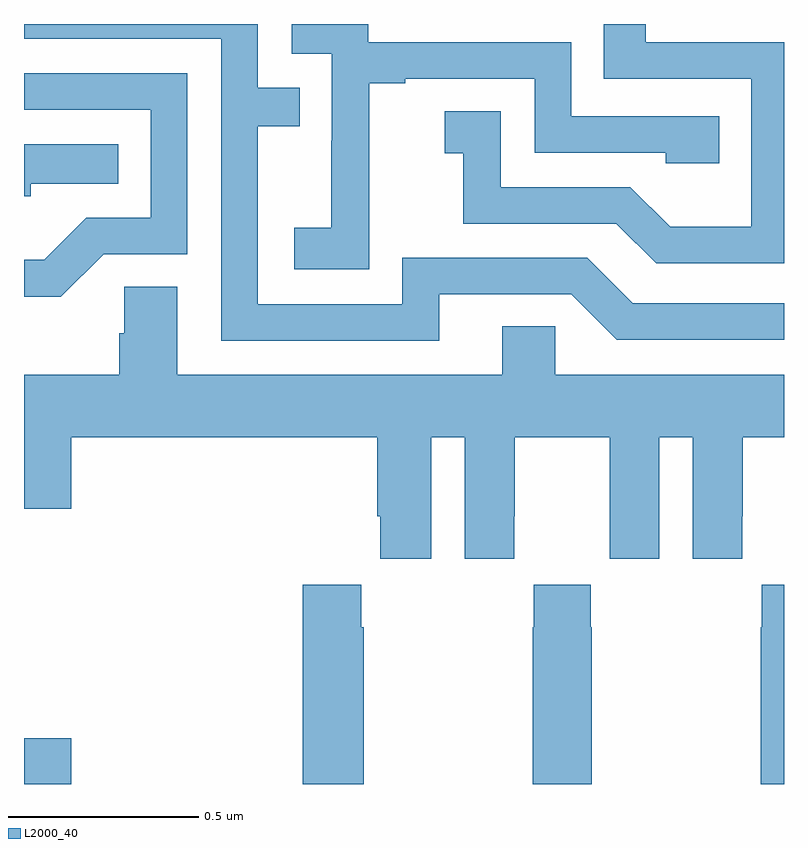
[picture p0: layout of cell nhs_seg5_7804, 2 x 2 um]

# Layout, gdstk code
import gdstk
lib = gdstk.Library(unit=1e-6, precision=1e-09)
def R(c, l, rs):  # rectangles x0, y0, x1, y1
    for r in rs: c.add(gdstk.rectangle(r[:2], r[2:], *l))
def P(c, l, *ps):  # polygons
    for p in ps: c.add(gdstk.Polygon(p, *l))
L2000_40 = (2000, 40)

nhs_seg5_7804 = lib.new_cell('nhs_seg5_7804')
R(nhs_seg5_7804, L2000_40, [(213,903.799,213.124,903.919)])
P(nhs_seg5_7804, L2000_40, [(213.909,905.359),(213.908,905.359),(213.908,905.643),(214.003,905.643),(214.003,905.655),(214.344,905.655),(214.344,905.46),(214.689,905.46),(214.689,905.433),(214.829,905.433),(214.829,905.556),(214.44,905.556),(214.44,905.751),(213.906,905.751),(213.906,905.799),(213.705,905.799),(213.705,905.721),(213.81,905.721),(213.81,905.492),(213.809,905.492),(213.809,905.263),(213.711,905.263),(213.711,905.153),(213.909,905.153)],
  [(215,905.751),(214.636,905.751),(214.636,905.799),(214.525,905.799),(214.525,905.655),(214.914,905.655),(214.914,905.266),(214.7,905.266),(214.596,905.37),(214.254,905.37),(214.254,905.569),(214.107,905.569),(214.107,905.459),(214.156,905.459),(214.156,905.274),(214.559,905.274),(214.664,905.169),(215,905.169)],
  [(214.093,905.088),(214.44,905.088),(214.56,904.968),(215,904.968),(215,905.064),(214.602,905.064),(214.482,905.184),(213.996,905.184),(213.996,905.061),(213.615,905.061),(213.615,905.53),(213.725,905.53),(213.725,905.631),(213.615,905.631),(213.615,905.799),(213,905.799),(213,905.76),(213.519,905.76),(213.519,904.965),(214.093,904.965)],
  [(213.21,905.193),(213.429,905.193),(213.429,905.67),(213,905.67),(213,905.574),(213.333,905.574),(213.333,905.289),(213.164,905.289),(213.053,905.178),(213,905.178),(213,905.081),(213.097,905.081)],
  [(213.018,905.378),(213.248,905.378),(213.248,905.482),(213,905.482),(213,905.346),(213.018,905.346)],
  [(214.072,904.712),(214.16,904.712),(214.16,904.392),(214.29,904.392),(214.29,904.504),(214.291,904.504),(214.291,904.712),(214.541,904.712),(214.541,904.504),(214.542,904.504),(214.542,904.392),(214.672,904.392),(214.672,904.712),(214.76,904.712),(214.76,904.392),(214.89,904.392),(214.89,904.504),(214.891,904.504),(214.891,904.712),(215,904.712),(215,904.876),(214.398,904.876),(214.398,905.003),(214.259,905.003),(214.259,904.876),(213.403,904.876),(213.403,905.108),(213.264,905.108),(213.264,904.985),(213.251,904.985),(213.251,904.876),(213,904.876),(213,904.524),(213.124,904.524),(213.124,904.712),(213.929,904.712),(213.929,904.504),(213.938,904.504),(213.938,904.392),(214.072,904.392)],
  [(215,904.324),(214.941,904.324),(214.941,904.211),(214.939,904.211),(214.939,903.799),(215,903.799)],
  [(214.494,904.211),(214.491,904.211),(214.491,904.324),(214.341,904.324),(214.341,904.211),(214.339,904.211),(214.339,903.799),(214.494,903.799)],
  [(213.894,904.211),(213.887,904.211),(213.887,904.324),(213.734,904.324),(213.734,903.799),(213.894,903.799)])

lib.write_gds('nhs_seg5_7804.gds')
